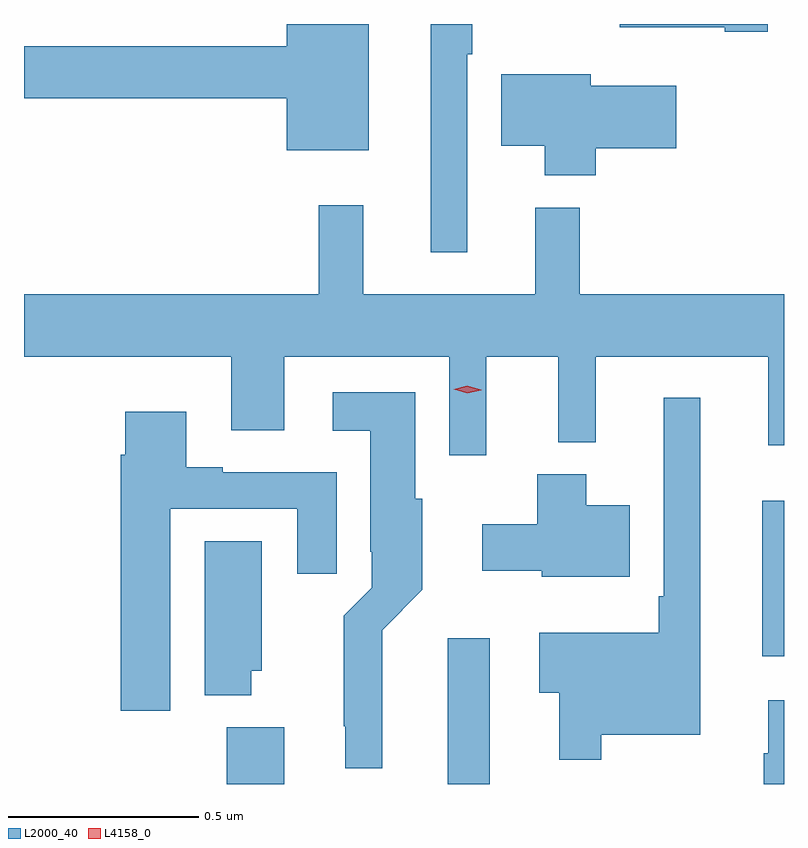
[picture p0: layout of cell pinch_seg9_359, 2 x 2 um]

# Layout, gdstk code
import gdstk
lib = gdstk.Library(unit=1e-6, precision=1e-09)
def R(c, l, rs):  # rectangles x0, y0, x1, y1
    for r in rs: c.add(gdstk.rectangle(r[:2], r[2:], *l))
def P(c, l, *ps):  # polygons
    for p in ps: c.add(gdstk.Polygon(p, *l))
L2000_40 = (2000, 40)
L4158_0 = (4158, 0)

pinch_seg9_359 = lib.new_cell('pinch_seg9_359')
R(pinch_seg9_359, L2000_40, [(586.109,1180.643,586.261,1180.792), (586.691,1180.643,586.801,1181.026), (587.519,1180.979,587.576,1181.389)])
P(pinch_seg9_359, L2000_40, [(586.483,1182.643),(586.268,1182.643),(586.268,1182.584),(585.576,1182.584),(585.576,1182.448),(586.268,1182.448),(586.268,1182.311),(586.483,1182.311)],
  [(586.743,1182.563),(586.756,1182.563),(586.756,1182.643),(586.646,1182.643),(586.646,1182.042),(586.743,1182.042)],
  [(587.533,1182.643),(587.144,1182.643),(587.144,1182.635),(587.42,1182.635),(587.42,1182.623),(587.533,1182.623)],
  [(587.081,1182.316),(587.293,1182.316),(587.293,1182.481),(587.068,1182.481),(587.068,1182.511),(586.832,1182.511),(586.832,1182.323),(586.946,1182.323),(586.946,1182.245),(587.081,1182.245)],
  [(586.793,1181.768),(586.982,1181.768),(586.982,1181.543),(587.081,1181.543),(587.081,1181.768),(587.534,1181.768),(587.534,1181.535),(587.576,1181.535),(587.576,1181.932),(587.039,1181.932),(587.039,1182.16),(586.922,1182.16),(586.922,1181.932),(586.469,1181.932),(586.469,1182.166),(586.351,1182.166),(586.351,1181.932),(585.576,1181.932),(585.576,1181.768),(586.121,1181.768),(586.121,1181.574),(586.261,1181.574),(586.261,1181.768),(586.695,1181.768),(586.695,1181.508),(586.793,1181.508)],
  [(586.519,1181.048),(586.624,1181.154),(586.624,1181.394),(586.606,1181.394),(586.606,1181.674),(586.389,1181.674),(586.389,1181.573),(586.487,1181.573),(586.487,1181.254),(586.491,1181.254),(586.491,1181.16),(586.417,1181.086),(586.417,1180.795),(586.421,1180.795),(586.421,1180.685),(586.519,1180.685)],
  [(587.095,1180.772),(587.356,1180.772),(587.356,1181.659),(587.259,1181.659),(587.259,1181.137),(587.247,1181.137),(587.247,1181.041),(586.932,1181.041),(586.932,1180.883),(586.985,1180.883),(586.985,1180.707),(587.095,1180.707)],
  [(585.961,1181.367),(586.295,1181.367),(586.295,1181.196),(586.399,1181.196),(586.399,1181.463),(586.099,1181.463),(586.099,1181.476),(586.003,1181.476),(586.003,1181.623),(585.842,1181.623),(585.842,1181.51),(585.83,1181.51),(585.83,1180.836),(585.961,1180.836)],
  [(587.17,1181.377),(587.056,1181.377),(587.056,1181.458),(586.927,1181.458),(586.927,1181.326),(586.782,1181.326),(586.782,1181.204),(586.938,1181.204),(586.938,1181.189),(587.17,1181.189)],
  [(586.174,1180.941),(586.201,1180.941),(586.201,1181.282),(586.052,1181.282),(586.052,1180.877),(586.174,1180.877)],
  [(587.576,1180.864),(587.534,1180.864),(587.534,1180.724),(587.523,1180.724),(587.523,1180.643),(587.576,1180.643)])
P(pinch_seg9_359, L4158_0, [(586.742,1181.671),(586.707,1181.682),(586.706,1181.682),(586.707,1181.682),(586.743,1181.691),(586.779,1181.68),(586.779,1181.679),(586.779,1181.679)])

lib.write_gds('pinch_seg9_359.gds')
